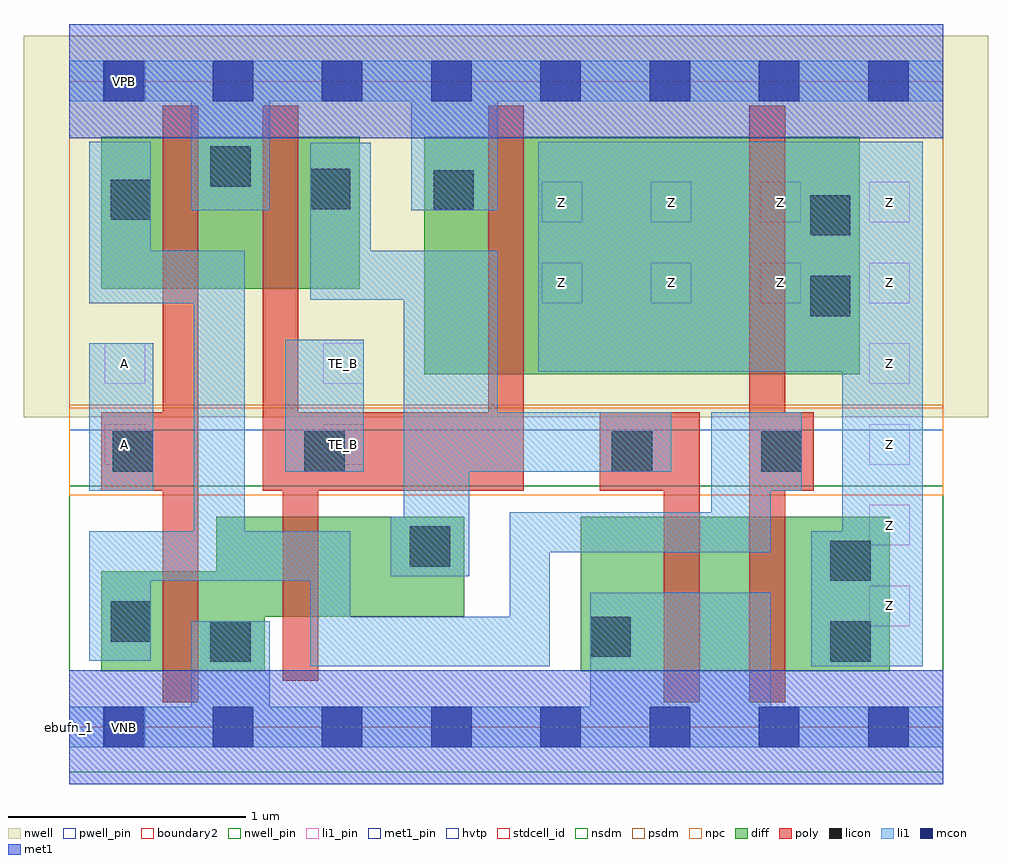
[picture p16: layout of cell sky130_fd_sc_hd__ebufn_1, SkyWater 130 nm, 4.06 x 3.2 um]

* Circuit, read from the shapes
.subckt sky130_fd_sc_hd__ebufn_1 A TE_B VGND VNB VPB VPWR Z
XM1 VGND A n1 VNB sky130_fd_pr__nfet_01v8 w=0.42 l=0.15
XM2 n2 TE_B VGND VNB sky130_fd_pr__nfet_01v8 w=0.42 l=0.15
XM3 n3 n2 VGND VNB sky130_fd_pr__nfet_01v8 w=0.65 l=0.15
XM4 Z n1 n3 VNB sky130_fd_pr__nfet_01v8 w=0.65 l=0.15
XM5 VPWR A n1 VPB sky130_fd_pr__pfet_01v8_hvt w=0.64 l=0.15
XM6 n2 TE_B VPWR VPB sky130_fd_pr__pfet_01v8_hvt w=0.64 l=0.15
XM7 n4 TE_B VPWR VPB sky130_fd_pr__pfet_01v8_hvt w=1 l=0.15
XM8 Z n1 n4 VPB sky130_fd_pr__pfet_01v8_hvt w=1 l=0.15
.ends

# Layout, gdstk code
import gdstk
lib = gdstk.Library(unit=1e-6, precision=1e-09)
def R(c, l, rs):  # rectangles x0, y0, x1, y1
    for r in rs: c.add(gdstk.rectangle(r[:2], r[2:], *l))
def A(c, l, x, y, w, h, nx, ny, dx, dy):  # array of equal rectangles
    R(c, l, [(x+i*dx, y+j*dy, x+i*dx+w, y+j*dy+h) for i in range(nx) for j in range(ny)])
def P(c, l, *ps):  # polygons
    for p in ps: c.add(gdstk.Polygon(p, *l))
nwell_pin = (64, 16)
nwell = (64, 20)
diff = (65, 20)
poly = (66, 20)
licon = (66, 44)
li1_pin = (67, 16)
li1 = (67, 20)
mcon = (67, 44)
met1_pin = (68, 16)
met1 = (68, 20)
hvtp = (78, 44)
stdcell_id = (81, 4)
nsdm = (93, 44)
psdm = (94, 20)
npc = (95, 20)
pwell_pin = (122, 16)
boundary2 = (236, 0)

sky130_fd_sc_hd__ebufn_1 = lib.new_cell('sky130_fd_sc_hd__ebufn_1')
R(sky130_fd_sc_hd__ebufn_1, nwell_pin, [(0.15,2.635,0.32,2.805)])
R(sky130_fd_sc_hd__ebufn_1, nwell, [(-0.19,1.305,3.87,2.91)])
R(sky130_fd_sc_hd__ebufn_1, diff, [(2.155,0.235,3.455,0.885), (1.495,1.485,3.33,2.485), (0.135,1.845,1.225,2.485)])
P(sky130_fd_sc_hd__ebufn_1, diff, [(1.665,0.885),(0.62,0.885),(0.62,0.655),(0.135,0.655),(0.135,0.235),(0.825,0.235),(0.825,0.465),(1.665,0.465)])
P(sky130_fd_sc_hd__ebufn_1, poly, [(3.135,1.325),(3.015,1.325),(3.015,2.615),(2.865,2.615),(2.865,0.105),(3.015,0.105),(3.015,0.995),(3.135,0.995)],
  [(2.655,1.325),(2.235,1.325),(2.235,0.995),(2.505,0.995),(2.505,0.105),(2.655,0.105)],
  [(0.545,2.615),(0.395,2.615),(0.395,1.325),(0.135,1.325),(0.135,0.995),(0.395,0.995),(0.395,0.105),(0.545,0.105)],
  [(1.915,2.615),(1.765,2.615),(1.765,1.325),(0.965,1.325),(0.965,2.615),(0.815,2.615),(0.815,0.995),(0.9,0.995),(0.9,0.195),(1.05,0.195),(1.05,0.995),(1.915,0.995)])
R(sky130_fd_sc_hd__ebufn_1, licon, [(0.595,0.275,0.765,0.445), (3.205,0.275,3.375,0.445), (2.195,0.295,2.365,0.465), (0.175,0.36,0.345,0.53), (3.205,0.615,3.375,0.785), (1.435,0.675,1.605,0.845), (0.185,1.075,0.355,1.245), (0.99,1.075,1.16,1.245), (2.285,1.075,2.455,1.245), (2.915,1.075,3.085,1.245), (3.12,1.73,3.29,1.9), (3.12,2.07,3.29,2.24), (0.175,2.135,0.345,2.305), (1.535,2.175,1.705,2.345), (1.015,2.18,1.185,2.35), (0.595,2.275,0.765,2.445)])
A(sky130_fd_sc_hd__ebufn_1, li1_pin, 3.37, 0.425, 0.17, 0.17, 1, 4, 0, 0.34)
A(sky130_fd_sc_hd__ebufn_1, li1_pin, 1.99, 1.785, 0.17, 0.17, 4, 2, 0.46, 0.34)
R(sky130_fd_sc_hd__ebufn_1, li1_pin, [(0.15,1.105,0.32,1.275), (1.07,1.105,1.24,1.275), (0.15,1.445,0.32,1.615), (1.07,1.445,1.24,1.615)])
R(sky130_fd_sc_hd__ebufn_1, li1, [(0.085,0.995,0.355,1.615), (0.91,1.075,1.24,1.63)])
P(sky130_fd_sc_hd__ebufn_1, li1, [(3.595,2.465),(1.975,2.465),(1.975,1.495),(3.255,1.495),(3.255,0.825),(3.125,0.825),(3.125,0.255),(3.595,0.255)],
  [(3.68,2.805),(0,2.805),(0,2.635),(0.515,2.635),(0.515,2.175),(0.845,2.175),(0.845,2.635),(1.44,2.635),(1.44,2.175),(1.805,2.175),(1.805,2.635),(3.68,2.635)],
  [(3.68,0.085),(2.955,0.085),(2.955,0.565),(2.195,0.565),(2.195,0.085),(0.845,0.085),(0.845,0.445),(0.515,0.445),(0.515,0.085),(0,0.085),(0,-0.085),(3.68,-0.085)],
  [(2.535,1.325),(1.805,1.325),(1.805,2.005),(1.27,2.005),(1.27,2.46),(1.015,2.46),(1.015,1.8),(1.41,1.8),(1.41,0.885),(1.355,0.885),(1.355,0.635),(1.685,0.635),(1.685,1.075),(2.535,1.075)],
  [(3.085,1.325),(2.705,1.325),(2.705,0.905),(1.855,0.905),(1.855,0.465),(1.185,0.465),(1.185,0.825),(0.74,0.825),(0.74,2.005),(0.345,2.005),(0.345,2.465),(0.085,2.465),(0.085,1.785),(0.525,1.785),(0.525,0.825),(0.085,0.825),(0.085,0.28),(0.345,0.28),(0.345,0.615),(1.015,0.615),(1.015,0.255),(2.025,0.255),(2.025,0.735),(2.955,0.735),(2.955,0.995),(3.085,0.995)])
A(sky130_fd_sc_hd__ebufn_1, mcon, 0.145, -0.085, 0.17, 0.17, 8, 2, 0.46, 2.72)
R(sky130_fd_sc_hd__ebufn_1, met1_pin, [(0.15,-0.085,0.32,0.085), (0.15,2.635,0.32,2.805)])
R(sky130_fd_sc_hd__ebufn_1, hvtp, [(0,1.25,3.68,2.72)])
R(sky130_fd_sc_hd__ebufn_1, stdcell_id, [(0,0,3.68,2.72), (0,0,3.68,2.72)])
R(sky130_fd_sc_hd__ebufn_1, nsdm, [(0,-0.19,3.68,1.015)])
R(sky130_fd_sc_hd__ebufn_1, psdm, [(0,1.355,3.68,2.91)])
R(sky130_fd_sc_hd__ebufn_1, npc, [(0,0.975,3.68,1.345)])
R(sky130_fd_sc_hd__ebufn_1, pwell_pin, [(0.15,-0.085,0.32,0.085)])
R(sky130_fd_sc_hd__ebufn_1, boundary2, [(0,0,3.68,2.72)])
sky130_fd_sc_hd__ebufn_1.add(gdstk.FlexPath([(0,0),(3.68,0)], 0.48, ends="flush", simple_path=True, layer=68, datatype=20))  # met1
sky130_fd_sc_hd__ebufn_1.add(gdstk.FlexPath([(0,2.72),(3.68,2.72)], 0.48, ends="flush", simple_path=True, layer=68, datatype=20))  # met1
sky130_fd_sc_hd__ebufn_1.add(gdstk.Label('ebufn_1', (0,0), layer=83, texttype=44))
sky130_fd_sc_hd__ebufn_1.add(gdstk.Label('Z', (2.995,1.87), layer=67, texttype=5))
sky130_fd_sc_hd__ebufn_1.add(gdstk.Label('Z', (2.995,2.21), layer=67, texttype=5))
sky130_fd_sc_hd__ebufn_1.add(gdstk.Label('Z', (3.455,2.21), layer=67, texttype=5))
sky130_fd_sc_hd__ebufn_1.add(gdstk.Label('Z', (3.455,1.87), layer=67, texttype=5))
sky130_fd_sc_hd__ebufn_1.add(gdstk.Label('Z', (3.455,1.53), layer=67, texttype=5))
sky130_fd_sc_hd__ebufn_1.add(gdstk.Label('Z', (3.455,1.19), layer=67, texttype=5))
sky130_fd_sc_hd__ebufn_1.add(gdstk.Label('TE_B', (1.155,1.19), layer=67, texttype=5))
sky130_fd_sc_hd__ebufn_1.add(gdstk.Label('TE_B', (1.155,1.53), layer=67, texttype=5))
sky130_fd_sc_hd__ebufn_1.add(gdstk.Label('A', (0.235,1.53), layer=67, texttype=5))
sky130_fd_sc_hd__ebufn_1.add(gdstk.Label('A', (0.235,1.19), layer=67, texttype=5))
sky130_fd_sc_hd__ebufn_1.add(gdstk.Label('Z', (2.535,1.87), layer=67, texttype=5))
sky130_fd_sc_hd__ebufn_1.add(gdstk.Label('Z', (3.455,0.51), layer=67, texttype=5))
sky130_fd_sc_hd__ebufn_1.add(gdstk.Label('Z', (3.455,0.85), layer=67, texttype=5))
sky130_fd_sc_hd__ebufn_1.add(gdstk.Label('Z', (2.535,2.21), layer=67, texttype=5))
sky130_fd_sc_hd__ebufn_1.add(gdstk.Label('Z', (2.075,2.21), layer=67, texttype=5))
sky130_fd_sc_hd__ebufn_1.add(gdstk.Label('Z', (2.075,1.87), layer=67, texttype=5))
sky130_fd_sc_hd__ebufn_1.add(gdstk.Label('VNB', (0.235,0), layer=64, texttype=59))
sky130_fd_sc_hd__ebufn_1.add(gdstk.Label('VPB', (0.235,2.72), layer=64, texttype=5))
sky130_fd_sc_hd__ebufn_1.add(gdstk.Label('VPWR', (0.23,2.72), layer=68, texttype=5))
sky130_fd_sc_hd__ebufn_1.add(gdstk.Label('VGND', (0.23,0), layer=68, texttype=5))

lib.write_gds('sky130_fd_sc_hd__ebufn_1.gds')
